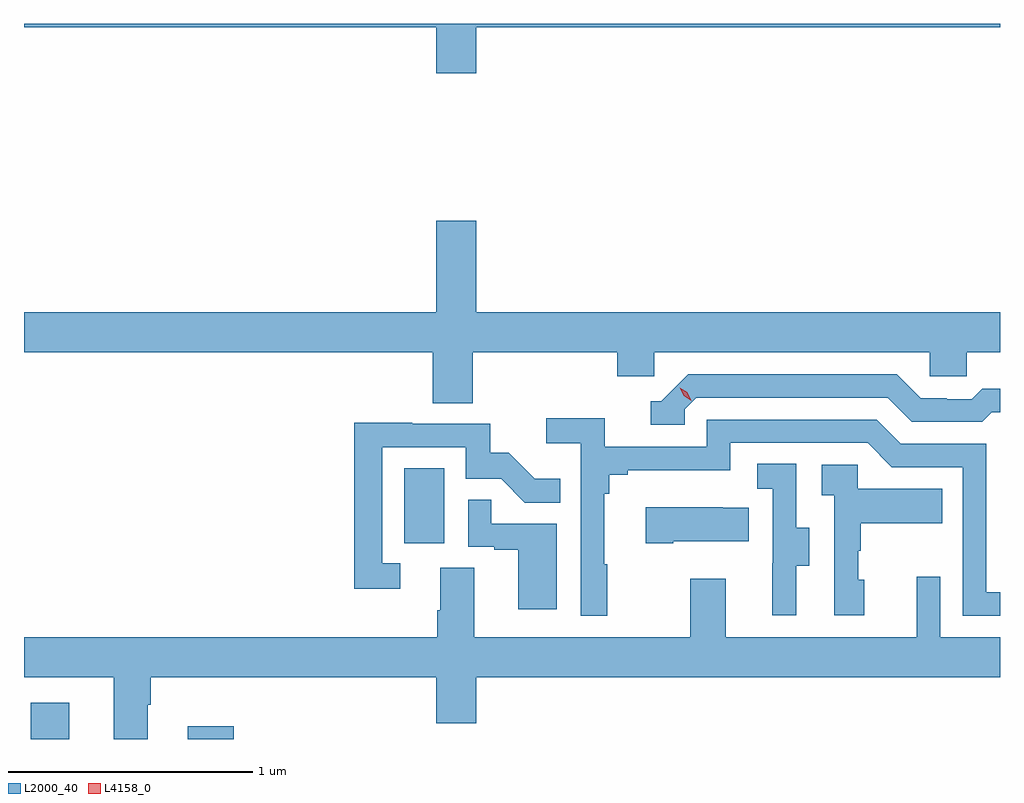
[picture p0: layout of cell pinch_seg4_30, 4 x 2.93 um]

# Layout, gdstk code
import gdstk
lib = gdstk.Library(unit=1e-6, precision=1e-09)
def R(c, l, rs):  # rectangles x0, y0, x1, y1
    for r in rs: c.add(gdstk.rectangle(r[:2], r[2:], *l))
def P(c, l, *ps):  # polygons
    for p in ps: c.add(gdstk.Polygon(p, *l))
L2000_40 = (2000, 40)
L4158_0 = (4158, 0)

pinch_seg4_30 = lib.new_cell('pinch_seg4_30')
R(pinch_seg4_30, L2000_40, [(1140.368,829.867,1140.526,830.017), (1141.011,829.867,1141.199,829.921), (1141.898,830.67,1142.062,830.977)])
P(pinch_seg4_30, L2000_40, [(1142.194,832.784),(1144.34,832.784),(1144.34,832.799),(1140.34,832.799),(1140.34,832.784),(1142.03,832.784),(1142.03,832.596),(1142.194,832.596)],
  [(1142.18,831.452),(1142.771,831.452),(1142.771,831.354),(1142.922,831.354),(1142.922,831.452),(1144.053,831.452),(1144.053,831.354),(1144.203,831.354),(1144.203,831.452),(1144.34,831.452),(1144.34,831.616),(1142.194,831.616),(1142.194,831.991),(1142.03,831.991),(1142.03,831.616),(1140.34,831.616),(1140.34,831.452),(1142.015,831.452),(1142.015,831.244),(1142.18,831.244)],
  [(1143.048,831.219),(1143.096,831.267),(1143.879,831.267),(1143.978,831.168),(1144.267,831.168),(1144.306,831.207),(1144.34,831.207),(1144.34,831.304),(1144.267,831.304),(1144.225,831.261),(1144.122,831.261),(1144.122,831.264),(1144.015,831.264),(1143.916,831.363),(1143.063,831.363),(1142.952,831.252),(1142.909,831.252),(1142.909,831.156),(1143.048,831.156)],
  [(1142.731,830.585),(1142.719,830.585),(1142.719,830.873),(1142.738,830.873),(1142.738,830.95),(1142.815,830.95),(1142.815,830.969),(1143.234,830.969),(1143.234,831.081),(1143.798,831.081),(1143.897,830.982),(1144.188,830.982),(1144.188,830.373),(1144.34,830.373),(1144.34,830.469),(1144.284,830.469),(1144.284,831.078),(1143.934,831.078),(1143.835,831.177),(1143.138,831.177),(1143.138,831.066),(1142.72,831.066),(1142.72,831.182),(1142.481,831.182),(1142.481,831.08),(1142.622,831.08),(1142.622,830.373),(1142.731,830.373)],
  [(1141.882,830.589),(1141.809,830.589),(1141.809,831.063),(1142.151,831.063),(1142.151,830.934),(1142.295,830.934),(1142.393,830.836),(1142.537,830.836),(1142.537,830.935),(1142.433,830.935),(1142.326,831.042),(1142.25,831.042),(1142.25,831.159),(1141.931,831.159),(1141.931,831.164),(1141.693,831.164),(1141.693,830.484),(1141.882,830.484)],
  [(1143.505,830.578),(1143.559,830.578),(1143.559,830.733),(1143.504,830.733),(1143.504,830.996),(1143.345,830.996),(1143.345,830.893),(1143.408,830.893),(1143.408,830.589),(1143.407,830.589),(1143.407,830.376),(1143.505,830.376)],
  [(1143.784,830.52),(1143.759,830.52),(1143.759,830.639),(1143.769,830.639),(1143.769,830.753),(1144.103,830.753),(1144.103,830.893),(1143.756,830.893),(1143.756,830.991),(1143.609,830.991),(1143.609,830.867),(1143.66,830.867),(1143.66,830.376),(1143.784,830.376)],
  [(1142.524,830.751),(1142.255,830.751),(1142.255,830.849),(1142.16,830.849),(1142.16,830.655),(1142.267,830.655),(1142.267,830.643),(1142.366,830.643),(1142.366,830.4),(1142.524,830.4)],
  [(1143.001,830.678),(1143.311,830.678),(1143.311,830.815),(1143.203,830.815),(1143.203,830.818),(1142.889,830.818),(1142.889,830.671),(1143.001,830.671)],
  [(1140.847,830.008),(1140.86,830.008),(1140.86,830.12),(1142.03,830.12),(1142.03,829.932),(1142.194,829.932),(1142.194,830.12),(1144.34,830.12),(1144.34,830.284),(1144.095,830.284),(1144.095,830.533),(1143.998,830.533),(1143.998,830.284),(1143.217,830.284),(1143.217,830.524),(1143.07,830.524),(1143.07,830.284),(1142.185,830.284),(1142.185,830.57),(1142.045,830.57),(1142.045,830.396),(1142.033,830.396),(1142.033,830.284),(1140.34,830.284),(1140.34,830.12),(1140.707,830.12),(1140.707,829.867),(1140.847,829.867)])
P(pinch_seg4_30, L4158_0, [(1143.074,831.255),(1143.043,831.274),(1143.027,831.307),(1143.027,831.308),(1143.028,831.308),(1143.058,831.288),(1143.074,831.255),(1143.074,831.255)])

lib.write_gds('pinch_seg4_30.gds')
